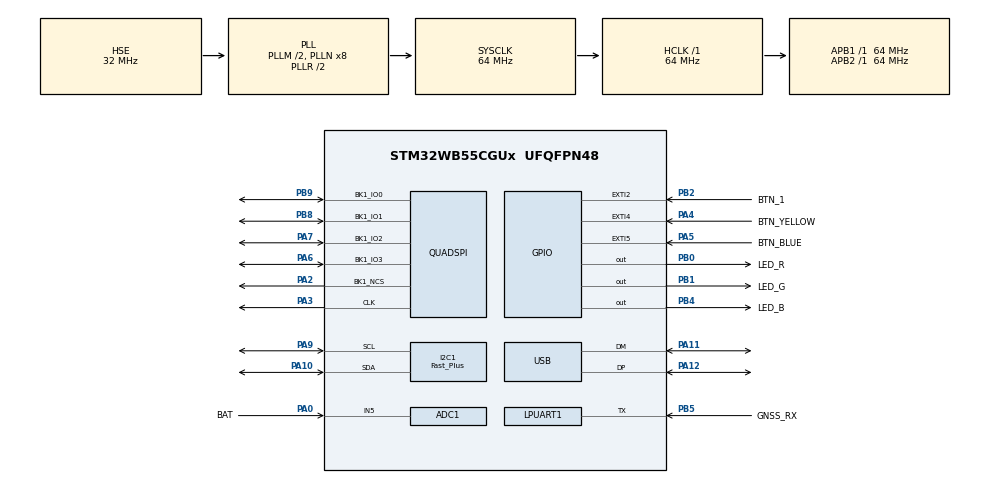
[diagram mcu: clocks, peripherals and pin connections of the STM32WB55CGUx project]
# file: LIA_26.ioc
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ADC1.Channel-0\#ChannelRegularConversion=ADC_CHANNEL_5
ADC1.NbrOfConversion=1
ADC1.NbrOfConversionFlag=1
ADC1.OffsetNumber-0\#ChannelRegularConversion=ADC_OFFSET_NONE
ADC1.Rank-0\#ChannelRegularConversion=1
ADC1.SamplingTime-0\#ChannelRegularConversion=ADC_SAMPLETIME_640CYCLES_5
ADC1.master=1
Dma.LPUART1_RX.0.Direction=DMA_PERIPH_TO_MEMORY
Dma.LPUART1_RX.0.EventEnable=DISABLE
Dma.LPUART1_RX.0.Instance=DMA1_Channel1
Dma.LPUART1_RX.0.MemDataAlignment=DMA_MDATAALIGN_BYTE
Dma.LPUART1_RX.0.MemInc=DMA_MINC_ENABLE
Dma.LPUART1_RX.0.Mode=DMA_CIRCULAR
Dma.LPUART1_RX.0.PeriphDataAlignment=DMA_PDATAALIGN_BYTE
Dma.LPUART1_RX.0.PeriphInc=DMA_PINC_DISABLE
Dma.LPUART1_RX.0.Polarity=HAL_DMAMUX_REQ_GEN_RISING
Dma.LPUART1_RX.0.Priority=DMA_PRIORITY_LOW
Dma.LPUART1_RX.0.RequestNumber=1
Dma.LPUART1_RX.0.SignalID=NONE
Dma.LPUART1_RX.0.SyncEnable=DISABLE
Dma.LPUART1_RX.0.SyncPolarity=HAL_DMAMUX_SYNC_NO_EVENT
Dma.LPUART1_RX.0.SyncRequestNumber=1
Dma.LPUART1_RX.0.SyncSignalID=NONE
Dma.QUADSPI.1.Direction=DMA_PERIPH_TO_MEMORY
Dma.QUADSPI.1.EventEnable=DISABLE
Dma.QUADSPI.1.Instance=DMA1_Channel2
Dma.QUADSPI.1.MemDataAlignment=DMA_MDATAALIGN_WORD
Dma.QUADSPI.1.MemInc=DMA_MINC_ENABLE
Dma.QUADSPI.1.Mode=DMA_NORMAL
Dma.QUADSPI.1.PeriphDataAlignment=DMA_PDATAALIGN_WORD
Dma.QUADSPI.1.PeriphInc=DMA_PINC_DISABLE
Dma.QUADSPI.1.Polarity=HAL_DMAMUX_REQ_GEN_RISING
Dma.QUADSPI.1.Priority=DMA_PRIORITY_HIGH
Dma.QUADSPI.1.RequestNumber=1
Dma.QUADSPI.1.SignalID=NONE
Dma.QUADSPI.1.SyncEnable=DISABLE
Dma.QUADSPI.1.SyncPolarity=HAL_DMAMUX_SYNC_NO_EVENT
Dma.QUADSPI.1.SyncRequestNumber=1
Dma.QUADSPI.1.SyncSignalID=NONE
Dma.Request0=LPUART1_RX
Dma.Request1=QUADSPI
I2C1.I2C_Speed_Mode=I2C_Fast_Plus
I2C1.Timing=0x00910B1C
LPUART1.BaudRate=38400
LPUART1.Mode=UART_MODE_RX
Mcu.Family=STM32WB
Mcu.Name=STM32WB55CGUx
Mcu.Package=UFQFPN48
NVIC.DMA1_Channel1_IRQn=true\:7\:0\:true\:false\:true\:false\:true\:true
NVIC.DMA1_Channel2_IRQn=true\:0\:0\:false\:false\:true\:false\:true\:true
NVIC.EXTI2_IRQn=true\:8\:0\:true\:false\:true\:true\:true\:true
NVIC.EXTI4_IRQn=true\:8\:0\:true\:false\:true\:true\:true\:true
NVIC.EXTI9_5_IRQn=true\:8\:0\:true\:false\:true\:true\:true\:true
NVIC.HSEM_IRQn=true\:0\:0\:false\:false\:true\:false\:true\:true
NVIC.I2C1_ER_IRQn=true\:0\:0\:false\:false\:true\:true\:true\:true
NVIC.I2C1_EV_IRQn=true\:0\:0\:false\:false\:true\:true\:true\:true
NVIC.IPCC_C1_RX_IRQn=true\:0\:0\:true\:false\:true\:true\:true\:true
NVIC.IPCC_C1_TX_IRQn=true\:0\:0\:true\:false\:true\:true\:true\:true
NVIC.LPUART1_IRQn=true\:0\:0\:false\:false\:true\:true\:true\:true
NVIC.PriorityGroup=NVIC_PRIORITYGROUP_4
NVIC.QUADSPI_IRQn=true\:0\:0\:false\:false\:true\:true\:true\:true
NVIC.RCC_IRQn=true\:0\:0\:false\:false\:true\:true\:false\:true
NVIC.RTC_WKUP_IRQn=true\:0\:0\:false\:false\:true\:true\:true\:true
NVIC.TIM1_UP_TIM16_IRQn=true\:15\:0\:false\:false\:true\:true\:true\:true
NVIC.USB_LP_IRQn=true\:5\:0\:true\:false\:true\:false\:true\:true
OSC_IN.Mode=HSE-External-Oscillator
OSC_IN.Signal=RCC_OSC_IN
OSC_OUT.Mode=HSE-External-Oscillator
OSC_OUT.Signal=RCC_OSC_OUT
PA0.GPIO_Label=BAT
PA0.Signal=ADCx_IN5
PA10.Mode=I2C
PA10.Signal=I2C1_SDA
PA11.GPIO_PuPd=GPIO_NOPULL
PA11.GPIO_Speed=GPIO_SPEED_FREQ_VERY_HIGH
PA11.Mode=Device
PA11.Signal=USB_DM
PA12.GPIO_PuPd=GPIO_NOPULL
PA12.GPIO_Speed=GPIO_SPEED_FREQ_VERY_HIGH
PA12.Mode=Device
PA12.Signal=USB_DP
PA13.Mode=Serial_Wire
PA13.Signal=SYS_JTMS-SWDIO
PA14.Mode=Serial_Wire
PA14.Signal=SYS_JTCK-SWCLK
PA2.GPIO_Speed=GPIO_SPEED_FREQ_VERY_HIGH
PA2.Mode=Single Bank 1
PA2.Signal=QUADSPI_BK1_NCS
PA3.GPIO_Speed=GPIO_SPEED_FREQ_VERY_HIGH
PA3.Mode=Single Bank 1
PA3.Signal=QUADSPI_CLK
PA4.GPIO_Label=BTN_YELLOW
PA4.GPIO_ModeDefaultEXTI=GPIO_MODE_IT_FALLING
PA4.Signal=GPXTI4
PA5.GPIO_Label=BTN_BLUE
PA5.GPIO_ModeDefaultEXTI=GPIO_MODE_IT_FALLING
PA5.Signal=GPXTI5
PA6.GPIO_Speed=GPIO_SPEED_FREQ_VERY_HIGH
PA6.Mode=Single Bank 1
PA6.Signal=QUADSPI_BK1_IO3
PA7.GPIO_Speed=GPIO_SPEED_FREQ_VERY_HIGH
PA7.Mode=Single Bank 1
PA7.Signal=QUADSPI_BK1_IO2
PA9.Mode=I2C
PA9.Signal=I2C1_SCL
PB0.GPIO_Label=LED_R
PB0.Signal=GPIO_Output
PB1.GPIO_Label=LED_G
PB1.Signal=GPIO_Output
PB2.GPIO_Label=BTN_1
PB2.GPIO_ModeDefaultEXTI=GPIO_MODE_IT_FALLING
PB2.Signal=GPXTI2
PB4.GPIO_Label=LED_B
PB4.Signal=GPIO_Output
PB5.GPIO_Label=GNSS_RX
PB5.GPIO_Mode=GPIO_MODE_AF_OD
PB5.GPIO_PuPdOD=GPIO_NOPULL
PB5.GPIO_Speed=GPIO_SPEED_FREQ_MEDIUM
PB5.Mode=Half_duplex(single_wire_mode)
PB5.Signal=LPUART1_TX
PB8.GPIO_Speed=GPIO_SPEED_FREQ_VERY_HIGH
PB8.Mode=Single Bank 1
PB8.Signal=QUADSPI_BK1_IO1
PB9.GPIO_Speed=GPIO_SPEED_FREQ_VERY_HIGH
PB9.Mode=Single Bank 1
PB9.Signal=QUADSPI_BK1_IO0
PC14-OSC32_IN.Mode=LSE-External-Oscillator
PC14-OSC32_IN.Signal=RCC_OSC32_IN
PC15-OSC32_OUT.Mode=LSE-External-Oscillator
PC15-OSC32_OUT.Signal=RCC_OSC32_OUT
ProjectManager.HeapSize=0x600
ProjectManager.StackSize=0x400
ProjectManager.TargetToolchain=Makefile
QUADSPI.ChipSelectHighTime=QSPI_CS_HIGH_TIME_1_CYCLE
QUADSPI.ClockPrescaler=10
QUADSPI.FifoThreshold=4
QUADSPI.FlashSize=25
QUADSPI.SampleShifting=QSPI_SAMPLE_SHIFTING_HALFCYCLE
RCC.ADCFreq_Value=48000000
RCC.AHB2CLKDivider=RCC_SYSCLK_DIV2
RCC.AHBFreq_Value=64000000
RCC.APB1Freq_Value=64000000
RCC.APB1TimFreq_Value=64000000
RCC.APB2Freq_Value=64000000
RCC.APB2TimFreq_Value=64000000
RCC.APB3Freq_Value=16000000
RCC.CortexFreq_Value=64000000
RCC.HCLKFreq_Value=64000000
RCC.HSE_VALUE=32000000
RCC.HSI48_VALUE=48000000
RCC.HSI_VALUE=16000000
RCC.PLLM=RCC_PLLM_DIV2
RCC.PLLSAI1N=6
RCC.PLLSourceVirtual=RCC_PLLSOURCE_HSE
RCC.RFWKPClockSelection=RCC_RFWKPCLKSOURCE_LSE
RCC.SYSCLKFreq_VALUE=64000000
RCC.SYSCLKSource=RCC_SYSCLKSOURCE_PLLCLK
RCC.USBFreq_Value=48000000
RCC.VCOOutputFreq_Value=128000000
RF1.Mode=RF1_Activate
RF1.Signal=RF_RF1
SH.ADCx_IN5.0=ADC1_IN5,IN5-Single-Ended
STM32_WPAN.AD_TYPE_COMPLETE_LOCAL_NAME=Kollektiv_G
STM32_WPAN.AD_TYPE_COMPLETE_LOCAL_NAME_LENGTH=12
STM32_WPAN.BLE_DBG_APP_EN=1
STM32_WPAN.CFG_BLE_MAX_ATT_MTU=300
STM32_WPAN.CFG_DEBUG_APP_TRACE=1
STM32_WPAN.CFG_DEBUG_TRACE_UART=hw_uart1
STM32_WPAN.CFG_HW_USART1_ENABLED=0
STM32_WPAN.CFG_LSCLK_LSE=0
STM32_WPAN.CUSTOM_P2P_SERVER=Disabled
STM32_WPAN.CUSTOM_TEMPLATE=Enabled
STM32_WPAN.INCLUDE_AD_TYPE_COMPLETE_LOCAL_NAME=1
STM32_WPAN.INCLUDE_AD_TYPE_MANUFACTURER_SPECIFIC_DATA=0
STM32_WPAN.L2CAP_REQUEST_NEW_CONN_PARAM=1
STM32_WPAN.NUMBER_OF_SERVICES=1
STM32_WPAN.SERVICE1_CHAR1_LENGTH_CHARACTERISTIC=CHAR_VALUE_LEN_VARIABLE
STM32_WPAN.SERVICE1_CHAR1_LONG_NAME=dataPackage
STM32_WPAN.SERVICE1_CHAR1_PROP_NOTIFY=CHAR_PROP_NOTIFY
STM32_WPAN.SERVICE1_CHAR1_SHORT_NAME=DP
STM32_WPAN.SERVICE1_CHAR1_VALUE_LENGTH=300
STM32_WPAN.SERVICE1_LONG_NAME=dataSend
STM32_WPAN.SERVICE1_SHORT_NAME=DS
TIM16.Period=6400
TIM16.Prescaler=100
USB.Sof_enable=ENABLE
USB_DEVICE.CLASS_NAME_FS=CDC
USB_DEVICE.USBD_LPM_ENABLED=0
USB_DEVICE.VirtualMode=Cdc
USB_DEVICE.VirtualModeFS=Cdc_FS
VP_ADC1_Vref_Input.Mode=IN-Vrefint
VP_HSEM_VS_HSEM.Mode=HSEM_Activate
VP_IPCC_VS_IPCC.Mode=IPCC_Activate
VP_MEMORYMAP_VS_MEMORYMAP.Mode=CurAppReg
VP_RCC_USB.Mode=CRS SYNC Source USB
VP_RNG_VS_RNG.Mode=RNG_Activate
VP_RTC_VS_RTC_Activate.Mode=RTC_Enabled
VP_RTC_VS_RTC_WakeUp_intern.Mode=WakeUp
VP_SEQUENCER_VS_SEQUENCER.Mode=SEQUENCER_Enabled
VP_STM32_WPAN_VS_BLE_HOST.Mode=STM32_WPAN_Enabled
VP_TIM16_VS_ClockSourceINT.Mode=Enable_Timer
VP_TINY_LPM_VS_TINY_LPM.Mode=TINY_LPM_Enabled
VP_USB_DEVICE_VS_USB_DEVICE_CDC_FS.Mode=CDC_FS
board=custom

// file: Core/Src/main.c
/* USER CODE BEGIN Header */
/**
  ******************************************************************************
  * @file           : main.c
  * @brief          : Main program body
  ******************************************************************************
  * @attention
  *
  * Copyright (c) 2026 STMicroelectronics.
  * All rights reserved.
  *
  * This software is licensed under terms that can be found in the LICENSE file
  * in the root directory of this software component.
  * If no LICENSE file comes with this software, it is provided AS-IS.
  *
  ******************************************************************************
  */
/* USER CODE END Header */
#include "main.h"
#include "usb_device.h"

/* USER CODE BEGIN PTD */
typedef enum {
  MAIN_MENU,
  MEASURING,
  SENDING
}menuState;

typedef enum {
  CUR_START,
  CUR_SEND
}menuCursor;

menuState currentLvl = MAIN_MENU;
menuCursor currentCur = CUR_START;

/* USER CODE END PTD */

/* USER CODE BEGIN PD */

uint8_t tastScheduler = 0;
uint8_t displayScheduler = 0;
uint8_t stateChange = 1;
uint8_t cursorChange = 1;

uint8_t usbReconnected = 0;

uint32_t batBuffer;
uint32_t USBBuffer;
float batVoltage;

extern uint8_t usbConnected;

uint8_t usbVolt = 0;

uint8_t livedata[12];

const uint8_t charges[] = {
    0x7f, 0xf0, 0x7f, 0xf0, 0x7f, 0xf0, 0x7f, 0xf0};

/* USER CODE END PD */

ADC_HandleTypeDef hadc1;

I2C_HandleTypeDef hi2c1;

IPCC_HandleTypeDef hipcc;

UART_HandleTypeDef hlpuart1;
DMA_HandleTypeDef hdma_lpuart1_rx;

QSPI_HandleTypeDef hqspi;
DMA_HandleTypeDef hdma_quadspi;

RNG_HandleTypeDef hrng;

RTC_HandleTypeDef hrtc;

TIM_HandleTypeDef htim16;

void SystemClock_Config(void);
void PeriphCommonClock_Config(void);
static void MX_GPIO_Init(void);
static void MX_DMA_Init(void);
static void MX_I2C1_Init(void);
static void MX_TIM16_Init(void);
static void MX_IPCC_Init(void);
static void MX_RTC_Init(void);
static void MX_LPUART1_UART_Init(void);
static void MX_QUADSPI_Init(void);
static void MX_ADC1_Init(void);
static void MX_RNG_Init(void);
static void MX_RF_Init(void);
/* USER CODE BEGIN PFP */
void BatteryLevel(void);
/* USER CODE END PFP */

int main(void)
{

  /* MCU Configuration--------------------------------------------------------*/

  /* Reset of all peripherals, Initializes the Flash interface and the Systick. */
  HAL_Init();
  /* Config code for STM32_WPAN (HSE Tuning must be done before system clock configuration) */
  MX_APPE_Config();

  /* Configure the system clock */
  SystemClock_Config();

  /* Configure the peripherals common clocks */
  PeriphCommonClock_Config();

  /* IPCC initialisation */
  MX_IPCC_Init();

  /* Initialize all configured peripherals */
  MX_GPIO_Init();
  MX_DMA_Init();
  MX_I2C1_Init();
  MX_TIM16_Init();
  MX_RTC_Init();
  MX_LPUART1_UART_Init();
  MX_QUADSPI_Init();
  MX_USB_Device_Init();
  MX_ADC1_Init();
  MX_RNG_Init();
  MX_RF_Init();
  /* USER CODE BEGIN 2 */

  BMI270_Configure();

  GPS_Start();

  BME280_Config(OSRS_2, OSRS_16, OSRS_1, MODE_NORMAL, T_SB_0p5, IIR_16);

  // Flash configuration
  Enable_4BYTEMODE();

  //Display initiation
  Oled_init();
  Oled_Clear(0x00);

  Oled_Update();
  Oled_introScreen();

  //Find memory page
  findStartPos();
  //Block BLE from turning off USB-clock
  HAL_HSEM_FastTake(5); // Lock semaphore 5. If not BLE will stop the USB clock

  /* USER CODE END 2 */

  /* Init code for STM32_WPAN */
  MX_APPE_Init();

  /* Infinite loop */
  /* USER CODE BEGIN WHILE */
  while (1)
  {

    switch(currentLvl)
    {
      case MAIN_MENU:
        if(stateChange)
        {
          mainMenu();
          stateChange = 0;
        }

        if(cursorChange || stateChange)
        {
          if(currentCur == CUR_START)
          {
            DrawCircle(10, 19, 2, 0x0F);
            DrawCircle(10, 39, 2, 0x00);
          }
          else{
            DrawCircle(10, 39, 2, 0x0F);
            DrawCircle(10, 19, 2, 0x00);
          }
          SSD1327_UpdateArea(8, 17, 14, 43, NULL);
          cursorChange = 0;
        }
        BatteryLevel();
        gpsLogo();

        break;
      case MEASURING:

        if(stateChange)
        {
          Oled_Clear(0x00);
          Oled_Draw1BitImage(107,0, icon_gps_20x20, ICON_GPS_W, ICON_GPS_H, 0x05);
          Oled_Draw1BitImage(110, 100, batFram, 15, 20, 0x08);
          oled_numSV();
          Oled_Update();
          stateChange = 0;
        }
        if(displayScheduler >= 100)
        {
          gpsLogo();
          BatteryLevel();
          Oled_updateNumSV();
        }

        if (tastScheduler >= 1){
          // if(GPS_connected)  // Check if gps has good connection before storing data.
          // {
          //   packageDataToMem();
          //   sendPackageToMem();
          // }
          packageDataToMem();
          sendPackageToMem();
          tastScheduler = 0;
        }
        break;
      case SENDING:

        if(stateChange)
        {
          Oled_Clear(0x00);
          Oled_Draw1BitImage(110, 100, batFram, 15, 20, 0x08);
          Oled_Draw1BitImage(0,100,connecttoUSB,100,15,0x0F);
          Oled_Update();
          stateChange = 0;
        }

        if(Custom_STN_NotificationEnabled()) // Check if someone is connected via BLE and has notification enabled
        {
          sendDataStepByStep();
        }
        if(usbConnected) // Check if someone is connected via USB
        {
          sendDataUSB();
        }
        BatteryLevel();
        break;
    }
    /* USER CODE END WHILE */
    MX_APPE_Process();

  }
}

void SystemClock_Config(void)
{
  RCC_OscInitTypeDef RCC_OscInitStruct = {0};
  RCC_ClkInitTypeDef RCC_ClkInitStruct = {0};
  RCC_CRSInitTypeDef RCC_CRSInitStruct = {0};

  /** Configure LSE Drive Capability
  */
  HAL_PWR_EnableBkUpAccess();
  __HAL_RCC_LSEDRIVE_CONFIG(RCC_LSEDRIVE_MEDIUMHIGH);

  /** Configure the main internal regulator output voltage
  */
  __HAL_PWR_VOLTAGESCALING_CONFIG(PWR_REGULATOR_VOLTAGE_SCALE1);

  /** Initializes the RCC Oscillators according to the specified parameters
  * in the RCC_OscInitTypeDef structure.
  */
  RCC_OscInitStruct.OscillatorType = RCC_OSCILLATORTYPE_HSI|RCC_OSCILLATORTYPE_LSI1
                              |RCC_OSCILLATORTYPE_HSE|RCC_OSCILLATORTYPE_LSE;
  RCC_OscInitStruct.HSEState = RCC_HSE_ON;
  RCC_OscInitStruct.LSEState = RCC_LSE_ON;
  RCC_OscInitStruct.HSIState = RCC_HSI_ON;
  RCC_OscInitStruct.HSICalibrationValue = RCC_HSICALIBRATION_DEFAULT;
  RCC_OscInitStruct.LSIState = RCC_LSI_ON;
  RCC_OscInitStruct.PLL.PLLState = RCC_PLL_ON;
  RCC_OscInitStruct.PLL.PLLSource = RCC_PLLSOURCE_HSE;
  RCC_OscInitStruct.PLL.PLLM = RCC_PLLM_DIV2;
  RCC_OscInitStruct.PLL.PLLN = 8;
  RCC_OscInitStruct.PLL.PLLP = RCC_PLLP_DIV2;
  RCC_OscInitStruct.PLL.PLLR = RCC_PLLR_DIV2;
  RCC_OscInitStruct.PLL.PLLQ = RCC_PLLQ_DIV2;
  if (HAL_RCC_OscConfig(&RCC_OscInitStruct) != HAL_OK)
  {
    Error_Handler();
  }

  /** Configure the SYSCLKSource, HCLK, PCLK1 and PCLK2 clocks dividers
  */
  RCC_ClkInitStruct.ClockType = RCC_CLOCKTYPE_HCLK4|RCC_CLOCKTYPE_HCLK2
                              |RCC_CLOCKTYPE_HCLK|RCC_CLOCKTYPE_SYSCLK
                              |RCC_CLOCKTYPE_PCLK1|RCC_CLOCKTYPE_PCLK2;
  RCC_ClkInitStruct.SYSCLKSource = RCC_SYSCLKSOURCE_PLLCLK;
  RCC_ClkInitStruct.AHBCLKDivider = RCC_SYSCLK_DIV1;
  RCC_ClkInitStruct.APB1CLKDivider = RCC_HCLK_DIV1;
  RCC_ClkInitStruct.APB2CLKDivider = RCC_HCLK_DIV1;
  RCC_ClkInitStruct.AHBCLK2Divider = RCC_SYSCLK_DIV2;
  RCC_ClkInitStruct.AHBCLK4Divider = RCC_SYSCLK_DIV1;

  if (HAL_RCC_ClockConfig(&RCC_ClkInitStruct, FLASH_LATENCY_3) != HAL_OK)
  {
    Error_Handler();
  }

  /** Enable the SYSCFG APB clock
  */
  __HAL_RCC_CRS_CLK_ENABLE();

  /** Configures CRS
  */
  RCC_CRSInitStruct.Prescaler = RCC_CRS_SYNC_DIV1;
  RCC_CRSInitStruct.Source = RCC_CRS_SYNC_SOURCE_USB;
  RCC_CRSInitStruct.Polarity = RCC_CRS_SYNC_POLARITY_RISING;
  RCC_CRSInitStruct.ReloadValue = __HAL_RCC_CRS_RELOADVALUE_CALCULATE(48000000,1000);
  RCC_CRSInitStruct.ErrorLimitValue = 34;
  RCC_CRSInitStruct.HSI48CalibrationValue = 32;

  HAL_RCCEx_CRSConfig(&RCC_CRSInitStruct);
}

void PeriphCommonClock_Config(void)
{
  RCC_PeriphCLKInitTypeDef PeriphClkInitStruct = {0};

  /** Initializes the peripherals clock
  */
  PeriphClkInitStruct.PeriphClockSelection = RCC_PERIPHCLK_SMPS|RCC_PERIPHCLK_RFWAKEUP
                              |RCC_PERIPHCLK_USB|RCC_PERIPHCLK_ADC;
  PeriphClkInitStruct.PLLSAI1.PLLN = 6;
  PeriphClkInitStruct.PLLSAI1.PLLP = RCC_PLLP_DIV2;
  PeriphClkInitStruct.PLLSAI1.PLLQ = RCC_PLLQ_DIV2;
  PeriphClkInitStruct.PLLSAI1.PLLR = RCC_PLLR_DIV2;
  PeriphClkInitStruct.PLLSAI1.PLLSAI1ClockOut = RCC_PLLSAI1_USBCLK|RCC_PLLSAI1_ADCCLK;
  PeriphClkInitStruct.UsbClockSelection = RCC_USBCLKSOURCE_PLLSAI1;
  PeriphClkInitStruct.AdcClockSelection = RCC_ADCCLKSOURCE_PLLSAI1;
  PeriphClkInitStruct.RFWakeUpClockSelection = RCC_RFWKPCLKSOURCE_LSE;
  PeriphClkInitStruct.SmpsClockSelection = RCC_SMPSCLKSOURCE_HSI;
  PeriphClkInitStruct.SmpsDivSelection = RCC_SMPSCLKDIV_RANGE1;

  if (HAL_RCCEx_PeriphCLKConfig(&PeriphClkInitStruct) != HAL_OK)
  {
    Error_Handler();
  }
}

static void MX_ADC1_Init(void)
{

  ADC_ChannelConfTypeDef sConfig = {0};

  /** Common config
  */
  hadc1.Instance = ADC1;
  hadc1.Init.ClockPrescaler = ADC_CLOCK_ASYNC_DIV1;
  hadc1.Init.Resolution = ADC_RESOLUTION_12B;
  hadc1.Init.DataAlign = ADC_DATAALIGN_RIGHT;
  hadc1.Init.ScanConvMode = ADC_SCAN_DISABLE;
  hadc1.Init.EOCSelection = ADC_EOC_SINGLE_CONV;
  hadc1.Init.LowPowerAutoWait = DISABLE;
  hadc1.Init.ContinuousConvMode = DISABLE;
  hadc1.Init.NbrOfConversion = 1;
  hadc1.Init.DiscontinuousConvMode = DISABLE;
  hadc1.Init.ExternalTrigConv = ADC_SOFTWARE_START;
  hadc1.Init.ExternalTrigConvEdge = ADC_EXTERNALTRIGCONVEDGE_NONE;
  hadc1.Init.DMAContinuousRequests = DISABLE;
  hadc1.Init.Overrun = ADC_OVR_DATA_PRESERVED;
  hadc1.Init.OversamplingMode = DISABLE;
  if (HAL_ADC_Init(&hadc1) != HAL_OK)
  {
    Error_Handler();
  }

  /** Configure Regular Channel
  */
  sConfig.Channel = ADC_CHANNEL_5;
  sConfig.Rank = ADC_REGULAR_RANK_1;
  sConfig.SamplingTime = ADC_SAMPLETIME_640CYCLES_5;
  sConfig.SingleDiff = ADC_SINGLE_ENDED;
  sConfig.OffsetNumber = ADC_OFFSET_NONE;
  sConfig.Offset = 0;
  if (HAL_ADC_ConfigChannel(&hadc1, &sConfig) != HAL_OK)
  {
    Error_Handler();
  }

}

static void MX_I2C1_Init(void)
{

  hi2c1.Instance = I2C1;
  hi2c1.Init.Timing = 0x00910B1C;
  hi2c1.Init.OwnAddress1 = 0;
  hi2c1.Init.AddressingMode = I2C_ADDRESSINGMODE_7BIT;
  hi2c1.Init.DualAddressMode = I2C_DUALADDRESS_DISABLE;
  hi2c1.Init.OwnAddress2 = 0;
  hi2c1.Init.OwnAddress2Masks = I2C_OA2_NOMASK;
  hi2c1.Init.GeneralCallMode = I2C_GENERALCALL_DISABLE;
  hi2c1.Init.NoStretchMode = I2C_NOSTRETCH_DISABLE;
  if (HAL_I2C_Init(&hi2c1) != HAL_OK)
  {
    Error_Handler();
  }

  /** Configure Analogue filter
  */
  if (HAL_I2CEx_ConfigAnalogFilter(&hi2c1, I2C_ANALOGFILTER_ENABLE) != HAL_OK)
  {
    Error_Handler();
  }

  /** Configure Digital filter
  */
  if (HAL_I2CEx_ConfigDigitalFilter(&hi2c1, 0) != HAL_OK)
  {
    Error_Handler();
  }

  /** I2C Enable Fast Mode Plus
  */
  HAL_I2CEx_EnableFastModePlus(I2C_FASTMODEPLUS_I2C1);

}

static void MX_IPCC_Init(void)
{

  hipcc.Instance = IPCC;
  if (HAL_IPCC_Init(&hipcc) != HAL_OK)
  {
    Error_Handler();
  }

}

static void MX_LPUART1_UART_Init(void)
{

  hlpuart1.Instance = LPUART1;
  hlpuart1.Init.BaudRate = 38400;
  hlpuart1.Init.WordLength = UART_WORDLENGTH_8B;
  hlpuart1.Init.StopBits = UART_STOPBITS_1;
  hlpuart1.Init.Parity = UART_PARITY_NONE;
  hlpuart1.Init.Mode = UART_MODE_RX;
  hlpuart1.Init.HwFlowCtl = UART_HWCONTROL_NONE;
  hlpuart1.Init.OneBitSampling = UART_ONE_BIT_SAMPLE_DISABLE;
  hlpuart1.Init.ClockPrescaler = UART_PRESCALER_DIV1;
  hlpuart1.AdvancedInit.AdvFeatureInit = UART_ADVFEATURE_NO_INIT;
  if (HAL_HalfDuplex_Init(&hlpuart1) != HAL_OK)
  {
    Error_Handler();
  }
  if (HAL_UARTEx_SetTxFifoThreshold(&hlpuart1, UART_TXFIFO_THRESHOLD_1_8) != HAL_OK)
  {
    Error_Handler();
  }
  if (HAL_UARTEx_SetRxFifoThreshold(&hlpuart1, UART_RXFIFO_THRESHOLD_1_8) != HAL_OK)
  {
    Error_Handler();
  }
  if (HAL_UARTEx_DisableFifoMode(&hlpuart1) != HAL_OK)
  {
    Error_Handler();
  }

}

static void MX_QUADSPI_Init(void)
{

  /* QUADSPI parameter configuration*/
  hqspi.Instance = QUADSPI;
  hqspi.Init.ClockPrescaler = 10;
  hqspi.Init.FifoThreshold = 4;
  hqspi.Init.SampleShifting = QSPI_SAMPLE_SHIFTING_HALFCYCLE;
  hqspi.Init.FlashSize = 25;
  hqspi.Init.ChipSelectHighTime = QSPI_CS_HIGH_TIME_1_CYCLE;
  hqspi.Init.ClockMode = QSPI_CLOCK_MODE_0;
  if (HAL_QSPI_Init(&hqspi) != HAL_OK)
  {
    Error_Handler();
  }

}

static void MX_RF_Init(void)
{

}

static void MX_RNG_Init(void)
{

  hrng.Instance = RNG;
  hrng.Init.ClockErrorDetection = RNG_CED_ENABLE;
  if (HAL_RNG_Init(&hrng) != HAL_OK)
  {
    Error_Handler();
  }

}

static void MX_RTC_Init(void)
{

  /** Initialize RTC Only
  */
  hrtc.Instance = RTC;
  hrtc.Init.HourFormat = RTC_HOURFORMAT_24;
  hrtc.Init.AsynchPrediv = CFG_RTC_ASYNCH_PRESCALER;
  hrtc.Init.SynchPrediv = CFG_RTC_SYNCH_PRESCALER;
  hrtc.Init.OutPut = RTC_OUTPUT_DISABLE;
  hrtc.Init.OutPutPolarity = RTC_OUTPUT_POLARITY_HIGH;
  hrtc.Init.OutPutType = RTC_OUTPUT_TYPE_OPENDRAIN;
  hrtc.Init.OutPutRemap = RTC_OUTPUT_REMAP_NONE;
  if (HAL_RTC_Init(&hrtc) != HAL_OK)
  {
    Error_Handler();
  }

  /** Enable the WakeUp
  */
  if (HAL_RTCEx_SetWakeUpTimer_IT(&hrtc, 0, RTC_WAKEUPCLOCK_RTCCLK_DIV16) != HAL_OK)
  {
    Error_Handler();
  }

}

static void MX_TIM16_Init(void)
{

  htim16.Instance = TIM16;
  htim16.Init.Prescaler = 100;
  htim16.Init.CounterMode = TIM_COUNTERMODE_UP;
  htim16.Init.Period = 6400;
  htim16.Init.ClockDivision = TIM_CLOCKDIVISION_DIV1;
  htim16.Init.RepetitionCounter = 0;
  htim16.Init.AutoReloadPreload = TIM_AUTORELOAD_PRELOAD_DISABLE;
  if (HAL_TIM_Base_Init(&htim16) != HAL_OK)
  {
    Error_Handler();
  }
  /* USER CODE BEGIN TIM16_Init 2 */

  /* Starting time-based interrupt */
  HAL_TIM_Base_Start_IT(&htim16);

  /* USER CODE END TIM16_Init 2 */

}

static void MX_DMA_Init(void)
{

  /* DMA controller clock enable */
  __HAL_RCC_DMAMUX1_CLK_ENABLE();
  __HAL_RCC_DMA1_CLK_ENABLE();

  /* DMA interrupt init */
  /* DMA1_Channel1_IRQn interrupt configuration */
  HAL_NVIC_SetPriority(DMA1_Channel1_IRQn, 7, 0);
  HAL_NVIC_EnableIRQ(DMA1_Channel1_IRQn);
  /* DMA1_Channel2_IRQn interrupt configuration */
  HAL_NVIC_SetPriority(DMA1_Channel2_IRQn, 0, 0);
  HAL_NVIC_EnableIRQ(DMA1_Channel2_IRQn);

}

static void MX_GPIO_Init(void)
{
  GPIO_InitTypeDef GPIO_InitStruct = {0};

  /* GPIO Ports Clock Enable */
  __HAL_RCC_GPIOC_CLK_ENABLE();
  __HAL_RCC_GPIOB_CLK_ENABLE();
  __HAL_RCC_GPIOA_CLK_ENABLE();

  /*Configure GPIO pin Output Level */
  HAL_GPIO_WritePin(GPIOB, LED_R_Pin|LED_G_Pin|LED_B_Pin, GPIO_PIN_RESET);

  /*Configure GPIO pins : BTN_YELLOW_Pin BTN_BLUE_Pin */
  GPIO_InitStruct.Pin = BTN_YELLOW_Pin|BTN_BLUE_Pin;
  GPIO_InitStruct.Mode = GPIO_MODE_IT_FALLING;
  GPIO_InitStruct.Pull = GPIO_NOPULL;
  HAL_GPIO_Init(GPIOA, &GPIO_InitStruct);

  /*Configure GPIO pin : BTN_1_Pin */
  GPIO_InitStruct.Pin = BTN_1_Pin;
  GPIO_InitStruct.Mode = GPIO_MODE_IT_FALLING;
  GPIO_InitStruct.Pull = GPIO_NOPULL;
  HAL_GPIO_Init(BTN_1_GPIO_Port, &GPIO_InitStruct);

  /*Configure GPIO pins : LED_R_Pin LED_G_Pin LED_B_Pin */
  GPIO_InitStruct.Pin = LED_R_Pin|LED_G_Pin|LED_B_Pin;
  GPIO_InitStruct.Mode = GPIO_MODE_OUTPUT_PP;
  GPIO_InitStruct.Pull = GPIO_NOPULL;
  GPIO_InitStruct.Speed = GPIO_SPEED_FREQ_LOW;
  HAL_GPIO_Init(GPIOB, &GPIO_InitStruct);

  /* EXTI interrupt init*/
  HAL_NVIC_SetPriority(EXTI2_IRQn, 8, 0);
  HAL_NVIC_EnableIRQ(EXTI2_IRQn);

  HAL_NVIC_SetPriority(EXTI4_IRQn, 8, 0);
  HAL_NVIC_EnableIRQ(EXTI4_IRQn);

  HAL_NVIC_SetPriority(EXTI9_5_IRQn, 8, 0);
  HAL_NVIC_EnableIRQ(EXTI9_5_IRQn);

}

/* USER CODE BEGIN 4 */

/**
  * @brief Battery-status function
  * @param None
  * @retval None
  */
void BatteryLevel(void)
{
  HAL_ADC_Start(&hadc1);
  HAL_ADC_PollForConversion(&hadc1, 1000);
  batBuffer = HAL_ADC_GetValue(&hadc1);
  batVoltage = ((batBuffer * 3.3f) / 4095.0f) * 1.5f;
  HAL_ADC_Stop(&hadc1);

  if(batVoltage > 3.7)
  {
    Oled_Draw1BitImage(111,104, charges,13,4,0x08); // HIGHEST BLOCK
    Oled_Draw1BitImage(111,109, charges,13,4,0x08); // MIDDLE BLOCK
    Oled_Draw1BitImage(111,114, charges,13,4,0x08); // LOWEST BLOCK
  }
  else if((batVoltage < 3.7) && (batVoltage >= 3.5f))
  {
    Oled_Draw1BitImage(111,104, charges,13,4,0x00); // HIGHEST BLOCK
    Oled_Draw1BitImage(111,109, charges,13,4,0x08); // MIDDLE BLOCK
    Oled_Draw1BitImage(111,114, charges,13,4,0x08); // LOWEST BLOCK
  }
  else{
    Oled_Draw1BitImage(111,104, charges,13,4,0x00); // HIGHEST BLOCK
    Oled_Draw1BitImage(111,109, charges,13,4,0x00); // MIDDLE BLOCK
    Oled_Draw1BitImage(111,114, charges,13,4,0x08); // LOWEST BLOCK
  }

  SSD1327_UpdateArea(110, 100, 110+15-1, 100+20-1, NULL);
}

/**
  * @brief Button-callback
  * @param None
  * @retval None
  */
void HAL_GPIO_EXTI_Callback(uint16_t GPIO_Pin)
{
  uint32_t interruptTime = HAL_GetTick();
  static uint32_t lastTime = 0;

  if(interruptTime - lastTime < 200) return; //Debounce

  if (GPIO_Pin == BTN_1_Pin)
  {
    if(currentLvl == MAIN_MENU)
    {
      cursorChange = 1;
      currentCur = (currentCur == CUR_START) ? CUR_SEND : CUR_START;
    }
  }
  if(GPIO_Pin == BTN_BLUE_Pin)
  {
    if(currentLvl == MAIN_MENU)
    {
      stateChange = 1;
      currentLvl = (currentCur == CUR_START) ? MEASURING : SENDING;
    }
  }
  if(GPIO_Pin == BTN_YELLOW_Pin)
  {
    if(currentLvl != MAIN_MENU)
    {
      stateChange = 1;
      cursorChange = 1;
      currentLvl = MAIN_MENU;
    }
  }

  lastTime = interruptTime;
}

/**
  * @brief Timer-callback
  * @param None
  * @retval None
  */
void HAL_TIM_PeriodElapsedCallback(TIM_HandleTypeDef *htim)
{
  if (htim == &htim16)
  {
    tastScheduler++;
    displayScheduler++;
  }
}

/* USER CODE END 4 */

void Error_Handler(void)
{
  /* USER CODE BEGIN Error_Handler_Debug */
  /* User can add his own implementation to report the HAL error return state */
  __disable_irq();
  while (1)
  {
    //NVIC_SystemReset();
  }
  /* USER CODE END Error_Handler_Debug */
}
